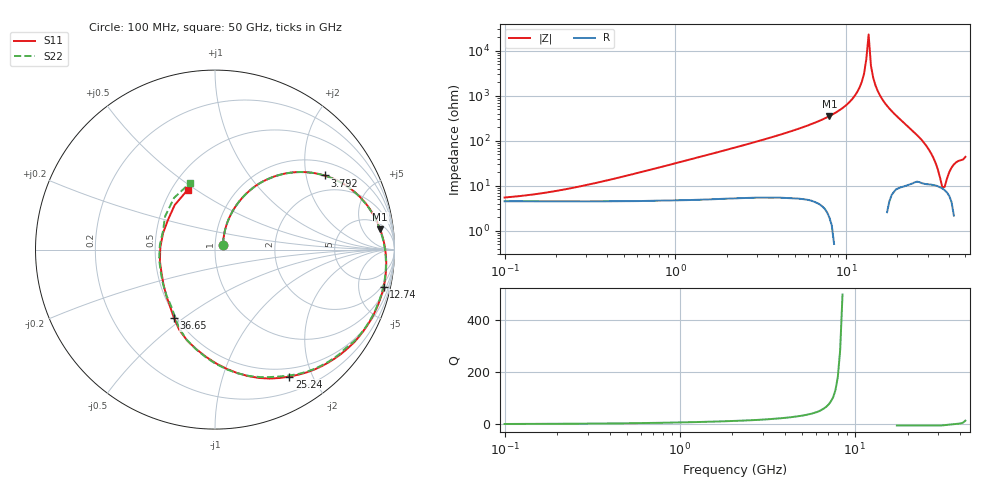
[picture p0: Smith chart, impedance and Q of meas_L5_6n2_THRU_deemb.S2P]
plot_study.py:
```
"""Regenerate the L6n2 openEMS study's differential L/Q/R plots.

Same calculation, axis limits, colors and line styles as the gds2palace L6n2 study
(gds2palace_ihp_sg13g2/more_examples/measured_vs_simulated/more_accurate_models_L6n2/results/plot_study.py),
so the plots of both studies compare directly.

usage: python plot_study.py [study_dir] [out_dir]
defaults: the study folder this script sits in (results/..), and results/plots
"""
import math
import os
import sys

import matplotlib
matplotlib.use("Agg")
from matplotlib import pyplot as plt
import skrf as rf

here = os.path.dirname(os.path.abspath(__file__))
study_dir = sys.argv[1] if len(sys.argv) > 1 else os.path.dirname(here)
out_dir = sys.argv[2] if len(sys.argv) > 2 else os.path.join(here, "plots")
res = os.path.join(study_dir, "results")


def run(name, label, **style):
    """(path, label, style): style overrides the plot's color/line style/width for this curve"""
    return (os.path.join(res, name + ".s2p"), label, style)


BOLD = dict(color='g', linestyle='solid', linewidth=2.5)   # the 0.5 µm models: the best result, easy to miss otherwise


MEAS = (os.path.join(study_dir, "meas_L5_6n2_THRU_deemb.S2P"), "Measured (de-embedded)", {})
MESH1 = run("run_L6n2_mesh1", "Sim: via merge, no correction, 1 µm mesh")
E40 = run("run_L6n2_mergecorrection_sweep_mesh1_limit-40", "Sim: end criterion -40 dB")
E40_CORR = run("run_L6n2_mergecorrection_sweep_mesh1_limit-40", "Sim: via merge + correction, 1 µm mesh")
E50 = run("run_L6n2_mergecorrection_sweep_mesh1_limit-50", "Sim: end criterion -50 dB")
E60 = run("run_L6n2_mergecorrection_sweep_mesh1_limit-60", "Sim: end criterion -60 dB")
PLANAR_2UM = run("run_L6n2_mergecorrection_sweep_mesh2_limit-60", "Sim: planar passivation, 2 µm mesh")
PASSICUT_2UM = run("run_L6n2_mergecorrection_passicut_sweep_mesh2_limit-60", "Sim: passivation cut, 2 µm mesh")
PASSICUT_1UM = run("run_L6n2_mergecorrection_passicut_sweep_mesh1_limit-60", "Sim: passivation cut, 1 µm mesh")
M60_2UM = run("run_L6n2_mergecorrection_sweep_mesh2_limit-60", "Sim: 2 µm mesh, -60 dB")
M60_1UM = run("run_L6n2_mergecorrection_sweep_mesh1_limit-60", "Sim: 1 µm mesh, -60 dB")
M60_0U5 = run("run_L6n2_mergecorrection_mesh0u5", "Sim: 0.5 µm mesh, -60 dB", **BOLD)
PASSICUT_0U5 = run("run_L6n2_mergecorrection_passicut_sweep_mesh0.5_limit-60", "Sim: passivation cut, 0.5 µm mesh", **BOLD)
OEMS_FINAL = run("run_L6n2_mergecorrection_passicut_sweep_mesh0.5_limit-60", "openEMS: passivation cut, 0.5 µm mesh, −60 dB")
PALACE_V5 = run("palace_L6n2_v5_2um_passicut", "Palace 0.19: PassiCut, filled metals, 2 µm mesh")
# the box (step 0): air around in µm, 250 µm margin, the final model; the 750 µm wafer on the chuck as a check
BOX = "run_L6n2_mergecorrection_passicut_boundary_mesh1_"
AIR = (0, 100, 200, 400, 800, 1600)
AIR_FILES = [BOX + f"m250_a{air}" for air in AIR]
WAFER = (BOX + "w750_m250_a800", 800, "750 µm wafer on the chuck, 800 µm air (not below)")

PLOTS = {
    "step1_via_merge_correction.png": [MEAS, MESH1, E40_CORR],
    "step2_energy_limit.png": [MEAS, E40, E50, E60],
    "step3_mesh.png": [MEAS, M60_2UM, M60_1UM, M60_0U5],
    "step4_passicut_2um.png": [MEAS, PLANAR_2UM, PASSICUT_2UM],
    "step4_passicut_mesh.png": [MEAS, PASSICUT_2UM, PASSICUT_1UM, PASSICUT_0U5],
    "openems_vs_palace.png": [MEAS, OEMS_FINAL, PALACE_V5],
}

colors = ['b', 'r', 'm', 'c', 'g', 'y', 'k', 'w']
linestyles = ['solid', 'dashed', 'dashdot', 'dotted', 'solid', 'dashed', 'dashdot', 'dotted']


def get_diff_model(sub):
    z11 = sub.z[:, 0, 0]
    z21 = sub.z[:, 1, 0]
    z12 = sub.z[:, 0, 1]
    z22 = sub.z[:, 1, 1]
    Zdiff = z11 - z12 - z21 + z22
    freq = sub.frequency.f
    omega = freq * 2 * math.pi
    return freq, Zdiff.real, Zdiff.imag / omega, Zdiff.imag / Zdiff.real


def plot(entries, out_path):
    networks = []
    global_fmax = math.inf
    for path, label, style in entries:
        nw = rf.Network(path)
        networks.append((nw, label, style))
        global_fmax = min(global_fmax, max(nw.frequency.f))
    fspec = str(int(100e6 / 1e6)) + '-' + str(int(global_fmax / 1e6)) + 'mhz'

    Lmin, Rmin, Qmax = math.inf, math.inf, 0
    for nw, _, _ in networks:
        freq0, Rdiff0, Ldiff0, Qdiff0 = get_diff_model(nw[fspec])
        Lmin = min(Lmin, Ldiff0[1] * 1e9)
        Rmin = min(Rmin, Rdiff0[1])
        Qmax = max(Qmax, max(Qdiff0))
    # like plot_inductor: SRF-based x range from the LAST file's data
    srf_index = rf.util.find_nearest_index(Ldiff0, min(Ldiff0))
    plot_fmax_ghz = 1.2 * freq0[srf_index] / 1e9 if srf_index > 20 else global_fmax / 1e9

    fig, axes = plt.subplots(2, 2, figsize=(12, 9))
    fig.suptitle("Differential Inductor Parameters")
    panels = [
        (axes[0, 0], lambda f, R, L, Q: L * 1e9, "Diff. Inductance (nH)", (0, 3 * Lmin), plot_fmax_ghz),
        (axes[0, 1], lambda f, R, L, Q: Q, "Diff. Q factor", (0, 1.2 * Qmax), plot_fmax_ghz),
        (axes[1, 0], lambda f, R, L, Q: R, "Diff. Resistance (Ohm)", (0, 5 * Rmin), plot_fmax_ghz),
        (axes[1, 1], lambda f, R, L, Q: R, "Diff. Resistance (Ohm)", (0.5 * Rmin, 3 * Rmin), 4.0),  # low-frequency detail, fixed 4 GHz
    ]
    for ax, value, ylabel, ylim, xmax in panels:
        ax.set_ylim(*ylim)
        ax.set_xlim(0, xmax)
        for n, (nw, label, style) in enumerate(networks):
            freq, R, L, Q = get_diff_model(nw[fspec])
            ax.plot(freq / 1e9, value(freq, R, L, Q), label=label,
                    **{"color": colors[n % 8], "linestyle": linestyles[n % 8], **style})
        ax.set_xlabel("Frequency (GHz)")
        ax.set_ylabel(ylabel)
        ax.set_xmargin(0)
        ax.legend(fontsize=9)
        ax.grid()
    fig.tight_layout()
    fig.savefig(out_path, dpi=125)
    plt.close(fig)
    print("wrote", out_path)


def plot_ripple(reference, others, pulse_center_ps, out_path, fmax_ghz=8):
    """Difference in differential resistance of each run vs. a reference run of the same model.
    others: list of (path, label, stop_time_ps). S-parameters are referenced to the incident pulse,
    so the ripple period is 1/(stop time - pulse center), with a zero crossing every half period."""
    ref = rf.Network(reference[0])
    fr, Rr, _, _ = get_diff_model(ref['100-' + str(int(max(ref.frequency.f) / 1e6)) + 'mhz'])
    fig, ax = plt.subplots(figsize=(9, 4.5))
    ax.axhline(0, color='k', linewidth=0.8)
    for n, (path, label, stop_ps) in enumerate(others):
        nw = rf.Network(path)
        freq, R, _, _ = get_diff_model(nw['100-' + str(int(max(nw.frequency.f) / 1e6)) + 'mhz'])
        m = freq <= fmax_ghz * 1e9
        dR = (R - Rr)[m]
        ymax = max(ymax, abs(dR).max()) if n else abs(dR).max()
        ax.plot(freq[m] / 1e9, dR, color=colors[n % 8], linestyle=linestyles[n % 8],
                label=f"{label}: stops {stop_ps - pulse_center_ps:.0f} ps after pulse center, "
                      f"expected ripple period {1e3 / (stop_ps - pulse_center_ps):.1f} GHz")
    ax.set_xlim(0, fmax_ghz)
    ax.set_ylim(-1.2 * ymax, 1.2 * ymax)
    ax.set_xlabel("Frequency (GHz)")
    ax.set_ylabel("Diff. resistance minus " + reference[1] + " (Ohm)")
    ax.set_title("Truncation ripple: difference to the " + reference[1] + " run")
    ax.legend(fontsize=9)
    ax.grid()
    fig.tight_layout()
    fig.savefig(out_path, dpi=125)
    plt.close(fig)
    print("wrote", out_path)


def figures_of_merit(path):
    """L at 1 GHz (nH), peak Q and SRF (GHz, first zero crossing of Im Zdiff) of a 2-port file"""
    nw = rf.Network(path)
    freq, R, L, Q = get_diff_model(nw['100-' + str(int(max(nw.frequency.f) / 1e6)) + 'mhz'])
    X = L * 2 * math.pi * freq
    k = next(i for i in range(len(X) - 1) if X[i] > 0 >= X[i + 1])
    srf = freq[k] - X[k] * (freq[k + 1] - freq[k]) / (X[k + 1] - X[k])
    L1 = L[min(range(len(freq)), key=lambda i: abs(freq[i] - 1e9))]
    return L1 * 1e9, max(Q), srf / 1e9


def plot_air_sweep(air, files, wafer, out_path):
    """Change of L at 1 GHz, peak Q and SRF against air around 0, one point per air value (equally spaced), and the
    750 µm wafer on the chuck as a single marker"""
    values = [figures_of_merit(os.path.join(res, name + ".s2p")) for name in files]
    ref = values[0]
    w = figures_of_merit(os.path.join(res, wafer[0] + ".s2p"))
    x = list(range(len(air)))
    fig, axes = plt.subplots(1, 3, figsize=(15, 4.6))
    for ax, k, title in zip(axes, range(3), ("L at 1 GHz", "peak Q", "SRF")):
        changes = [100 * (v[k] / ref[k] - 1) for v in values]
        ax.plot(x, changes, color=colors[0], marker="o", label="250 µm margin, air on all sides")
        ax.plot([x[air.index(wafer[1])]], [100 * (w[k] / ref[k] - 1)], color=colors[1], marker="s", linestyle="",
                label=wafer[2])
        ax.axhline(0, color="k", linewidth=0.8)
        ax.set_xticks(x)
        ax.set_xticklabels([str(a) for a in air])
        ax.set_xlabel("Air around (µm)")
        ax.set_ylabel("Change against no air (%)")
        ax.set_title(title)
        ax.set_ylim(-2.5, 2.5)
        ax.grid()
    axes[0].legend(fontsize=9, loc="lower right")
    fig.suptitle("Simulation box: 250 µm margin, air around added on all sides (1 µm mesh, passivation cut, −60 dB)")
    fig.tight_layout()
    fig.savefig(out_path, dpi=125)
    plt.close(fig)
    print("wrote", out_path)


os.makedirs(out_dir, exist_ok=True)
for name, entries in PLOTS.items():
    plot(entries, os.path.join(out_dir, name))
plot_air_sweep(list(AIR), AIR_FILES, WAFER, os.path.join(out_dir, "step0_box_air.png"))

# stop times from the end of the port probe signals, see plot_time_signals.py
plot_ripple((E60[0], "-60 dB"),
            [(E40[0], "end criterion -40 dB", 419.6), (E50[0], "end criterion -50 dB", 535.7)],
            204.7,  # center of the 409 ps fstop 14 GHz excitation pulse
            os.path.join(out_dir, "step2_ripple.png"))
```
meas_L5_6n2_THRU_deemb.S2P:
!  2-Port S-parameters saved by WinCal
! VAR NAME=L5_THRU_deemb
! VAR ObjTypeName=DATASET
! VAR IndexType=Frequency
! VAR FILENAME=meas_L5_6n2_THRU_deemb_GSG_PQD701W03Cx2y7.S2P
# Hz S RI R 50
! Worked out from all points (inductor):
!   201 points, 100 MHz to 50 GHz, reference 50 ohm
!   read as one part in series: L = 4.97 nH near 444.4 MHz
!   highest Q = 181 at 7.994 GHz (marker M1), where L = 7.07 nH
!   self-resonance near 13.14 GHz
!   S11 on the Smith chart (normalised r, x): 100 MHz: 1.09, +0.06; 3.792 GHz: 1.42, +2.56; 12.74 GHz: 1.58, -8.88; 25.24 GHz: 0.39, -1.68; 36.65 GHz: 0.49, -0.46; 50 GHz: 0.60, +0.46
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1e8  0.0441 0.0259  0.9554 -0.0308  0.9556 -0.0308  0.0442 0.0259
2.236068e9  0.3439 0.4119  0.6334 -0.4653  0.6333 -0.4651  0.3439 0.4115
3.792254e9  0.6106 0.413  0.358 -0.4921  0.3579 -0.4919  0.6105 0.4124
7.994179e9  0.9204 0.1124  0.0329 -0.2631  0.0329 -0.263  0.9195 0.1112
1.27408e10  0.9396 -0.2077  -0.00947 -0.0293  -0.00947 -0.0293  0.9373 -0.2094
1.355771e10  0.9269 -0.2559  -0.00217 0.00345  -0.00218 0.00347  0.9244 -0.2575
1.39856e10  0.9187 -0.2804  0.00285 0.0198  0.00286 0.0198  0.9161 -0.2818
1.535203e10  0.887 -0.355  0.0246 0.0684  0.0246 0.0684  0.8838 -0.3564
2.523965e10  0.4135 -0.7076  0.3721 0.2029  0.3719 0.2029  0.4097 -0.7019
3.664557e10  -0.2292 -0.3796  0.6177 -0.3181  0.6176 -0.3175  -0.2247 -0.3711
5e10  -0.1523 0.3334  -0.1609 -0.5116  -0.1605 -0.5112  -0.1409 0.3694
